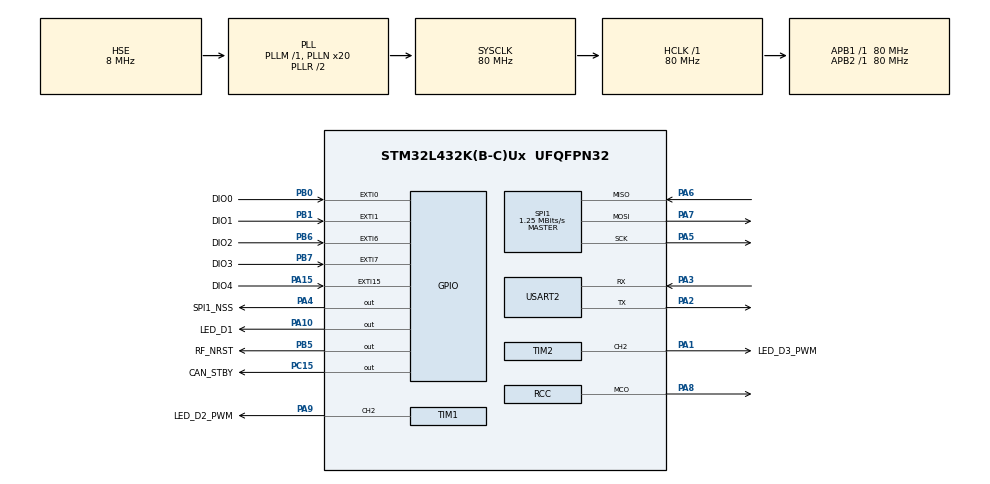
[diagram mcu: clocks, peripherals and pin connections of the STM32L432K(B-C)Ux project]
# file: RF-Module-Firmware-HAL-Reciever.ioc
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FREERTOS.Tasks01=defaultTask,24,512,StartDefaultTask,Default,NULL,Dynamic,NULL,NULL
FREERTOS.configENABLE_FPU=1
FREERTOS.configUSE_NEWLIB_REENTRANT=1
Mcu.Family=STM32L4
Mcu.Name=STM32L432K(B-C)Ux
Mcu.Package=UFQFPN32
NVIC.PriorityGroup=NVIC_PRIORITYGROUP_4
NVIC.TIM1_UP_TIM16_IRQn=true\:15\:0\:false\:false\:true\:false\:false\:true\:true
NVIC.TimeBase=TIM1_UP_TIM16_IRQn
NVIC.TimeBaseIP=TIM16
PA0.Mode=HSE-External-Clock-Source-for-LittleOrca
PA0.Signal=RCC_CK_IN
PA1.GPIO_Label=LED_D3_PWM
PA1.Signal=S_TIM2_CH2
PA10.GPIO_Label=LED_D1
PA10.Signal=GPIO_Output
PA13\ (JTMS-SWDIO).Mode=Serial_Wire
PA13\ (JTMS-SWDIO).Signal=SYS_JTMS-SWDIO
PA14\ (JTCK-SWCLK).Mode=Serial_Wire
PA14\ (JTCK-SWCLK).Signal=SYS_JTCK-SWCLK
PA15\ (JTDI).GPIO_Label=DIO4
PA15\ (JTDI).Signal=GPXTI15
PA2.Mode=Asynchronous
PA2.Signal=USART2_TX
PA3.Mode=Asynchronous
PA3.Signal=USART2_RX
PA4.GPIO_Label=SPI1_NSS
PA4.Signal=GPIO_Output
PA5.Mode=Full_Duplex_Master
PA5.Signal=SPI1_SCK
PA6.Mode=Full_Duplex_Master
PA6.Signal=SPI1_MISO
PA7.Mode=Full_Duplex_Master
PA7.Signal=SPI1_MOSI
PA8.Mode=Clock-out
PA8.Signal=RCC_MCO
PA9.GPIO_Label=LED_D2_PWM
PA9.Signal=S_TIM1_CH2
PB0.GPIO_Label=DIO0
PB0.Signal=GPXTI0
PB1.GPIO_Label=DIO1
PB1.Signal=GPXTI1
PB5.GPIO_Label=RF_NRST
PB5.Signal=GPIO_Output
PB6.GPIO_Label=DIO2
PB6.Signal=GPXTI6
PB7.GPIO_Label=DIO3
PB7.Signal=GPXTI7
PC15-OSC32_OUT\ (PC15).GPIO_Label=CAN_STBY
PC15-OSC32_OUT\ (PC15).Signal=GPIO_Output
ProjectManager.HeapSize=0x200
ProjectManager.StackSize=0x400
ProjectManager.TargetToolchain=STM32CubeIDE
RCC.ADCFreq_Value=32000000
RCC.AHBFreq_Value=80000000
RCC.APB1Freq_Value=80000000
RCC.APB1TimFreq_Value=80000000
RCC.APB2Freq_Value=80000000
RCC.APB2TimFreq_Value=80000000
RCC.CortexFreq_Value=80000000
RCC.EnbaleCSS=true
RCC.HCLKFreq_Value=80000000
RCC.HSE_VALUE=8000000
RCC.HSI48_VALUE=48000000
RCC.HSI_VALUE=16000000
RCC.LSE_VALUE=32768
RCC.LockedElements=AHBOutput
RCC.MSI_VALUE=4000000
RCC.PLLN=20
RCC.PLLSourceVirtual=RCC_PLLSOURCE_HSE
RCC.RCC_MCODiv=RCC_MCODIV_16
RCC.SYSCLKFreq_VALUE=80000000
RCC.SYSCLKSource=RCC_SYSCLKSOURCE_PLLCLK
RCC.USBFreq_Value=32000000
RCC.VCOOutputFreq_Value=160000000
SH.S_TIM1_CH2.0=TIM1_CH2,PWM Generation2 CH2
SH.S_TIM2_CH2.0=TIM2_CH2,PWM Generation2 CH2
SPI1.BaudRatePrescaler=SPI_BAUDRATEPRESCALER_64
SPI1.CalculateBaudRate=1.25 MBits/s
SPI1.DataSize=SPI_DATASIZE_8BIT
SPI1.Direction=SPI_DIRECTION_2LINES
SPI1.Mode=SPI_MODE_MASTER
SPI1.VirtualType=VM_MASTER
TIM1.AutoReloadPreload=TIM_AUTORELOAD_PRELOAD_ENABLE
TIM1.Channel-PWM\ Generation2\ CH2=TIM_CHANNEL_2
TIM1.Period=100-1
TIM1.Prescaler=8000-1
TIM2.AutoReloadPreload=TIM_AUTORELOAD_PRELOAD_ENABLE
TIM2.Channel-PWM\ Generation2\ CH2=TIM_CHANNEL_2
TIM2.Period=100-1
TIM2.Prescaler=8000-1
USART2.VirtualMode-Asynchronous=VM_ASYNC
VP_FREERTOS_VS_CMSIS_V2.Mode=CMSIS_V2
VP_SYS_VS_tim16.Mode=TIM16
VP_TIM1_VS_ClockSourceINT.Mode=Internal
VP_TIM2_VS_ClockSourceINT.Mode=Internal
board=custom

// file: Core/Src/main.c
/* USER CODE BEGIN Header */
/**
 ******************************************************************************
 * @file           : main.c
 * @brief          : Main program body
 ******************************************************************************
 * @attention
 *
 * Copyright (c) 2025 STMicroelectronics.
 * All rights reserved.
 *
 * This software is licensed under terms that can be found in the LICENSE file
 * in the root directory of this software component.
 * If no LICENSE file comes with this software, it is provided AS-IS.
 *
 ******************************************************************************
 */
/* USER CODE END Header */
#include "main.h"
#include "cmsis_os.h"
#include "spi.h"
#include "tim.h"
#include "usart.h"
#include "gpio.h"

/* USER CODE BEGIN Includes */
#include <stdbool.h>
#include "rf-rfm95.h"
#include "debug-log.h"
/* USER CODE END Includes */

void SystemClock_Config(void);
void MX_FREERTOS_Init(void);

/* USER CODE BEGIN 0 */
int _write(int file, char *ptr, int len) {
	HAL_UART_Transmit(&huart2, (uint8_t*) ptr, len, HAL_MAX_DELAY);
	return len;
}
/* USER CODE END 0 */

int main(void) {

	/* MCU Configuration--------------------------------------------------------*/

	/* Reset of all peripherals, Initializes the Flash interface and the Systick. */
	HAL_Init();

	/* Configure the system clock */
	SystemClock_Config();

	/* Initialize all configured peripherals */
	MX_GPIO_Init();
	MX_USART2_UART_Init();
	MX_TIM1_Init();
	MX_TIM2_Init();
	MX_SPI1_Init();

	/* Init scheduler */
	osKernelInitialize();

	/* Call init function for freertos objects (in cmsis_os2.c) */
	MX_FREERTOS_Init();

	/* Start scheduler */
	osKernelStart();

	/* We should never get here as control is now taken by the scheduler */

	/* Infinite loop */
	while (1) {

	}
}

void SystemClock_Config(void) {
	RCC_OscInitTypeDef RCC_OscInitStruct = { 0 };
	RCC_ClkInitTypeDef RCC_ClkInitStruct = { 0 };

	/** Configure the main internal regulator output voltage
	 */
	if (HAL_PWREx_ControlVoltageScaling(PWR_REGULATOR_VOLTAGE_SCALE1)
			!= HAL_OK) {
		Error_Handler();
	}

	/** Initializes the RCC Oscillators according to the specified parameters
	 * in the RCC_OscInitTypeDef structure.
	 */
	RCC_OscInitStruct.OscillatorType = RCC_OSCILLATORTYPE_HSE;
	RCC_OscInitStruct.HSEState = RCC_HSE_BYPASS;
	RCC_OscInitStruct.PLL.PLLState = RCC_PLL_ON;
	RCC_OscInitStruct.PLL.PLLSource = RCC_PLLSOURCE_HSE;
	RCC_OscInitStruct.PLL.PLLM = 1;
	RCC_OscInitStruct.PLL.PLLN = 20;
	RCC_OscInitStruct.PLL.PLLP = RCC_PLLP_DIV7;
	RCC_OscInitStruct.PLL.PLLQ = RCC_PLLQ_DIV2;
	RCC_OscInitStruct.PLL.PLLR = RCC_PLLR_DIV2;
	if (HAL_RCC_OscConfig(&RCC_OscInitStruct) != HAL_OK) {
		Error_Handler();
	}

	/** Initializes the CPU, AHB and APB buses clocks
	 */
	RCC_ClkInitStruct.ClockType = RCC_CLOCKTYPE_HCLK | RCC_CLOCKTYPE_SYSCLK
			| RCC_CLOCKTYPE_PCLK1 | RCC_CLOCKTYPE_PCLK2;
	RCC_ClkInitStruct.SYSCLKSource = RCC_SYSCLKSOURCE_PLLCLK;
	RCC_ClkInitStruct.AHBCLKDivider = RCC_SYSCLK_DIV1;
	RCC_ClkInitStruct.APB1CLKDivider = RCC_HCLK_DIV1;
	RCC_ClkInitStruct.APB2CLKDivider = RCC_HCLK_DIV1;

	if (HAL_RCC_ClockConfig(&RCC_ClkInitStruct, FLASH_LATENCY_4) != HAL_OK) {
		Error_Handler();
	}
	HAL_RCC_MCOConfig(RCC_MCO1, RCC_MCO1SOURCE_SYSCLK, RCC_MCODIV_16);

	/** Enables the Clock Security System
	 */
	HAL_RCC_EnableCSS();
}

void HAL_TIM_PeriodElapsedCallback(TIM_HandleTypeDef *htim) {
	if (htim->Instance == TIM16) {
		HAL_IncTick();
	}
}

void Error_Handler(void) {
	__disable_irq();
	while (1) {
	}
}

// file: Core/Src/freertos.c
/* USER CODE BEGIN Header */
/**
 ******************************************************************************
 * File Name          : freertos.c
 * Description        : Code for freertos applications
 ******************************************************************************
 * @attention
 *
 * Copyright (c) 2025 STMicroelectronics.
 * All rights reserved.
 *
 * This software is licensed under terms that can be found in the LICENSE file
 * in the root directory of this software component.
 * If no LICENSE file comes with this software, it is provided AS-IS.
 *
 ******************************************************************************
 */
/* USER CODE END Header */

#include "FreeRTOS.h"
#include "task.h"
#include "main.h"
#include "cmsis_os.h"

/* USER CODE BEGIN Includes */
#include <stdbool.h>
#include "rf-rfm95.h"
#include "debug-log.h"
#include "spi.h"
#include "lucy-can-ids.h"
#include <math.h>
/* USER CODE END Includes */

/* USER CODE BEGIN Variables */
typedef struct {
	union {
		struct {
			can_lucy_h2_conc packet_h2;
			can_lucy_h2_humidity packet_humd;
			can_lucy_h2_temp packet_temp;
		};
		uint8_t packet_raw[8 * 3];
	};
} rf_packet_test_h2;

rf_packet_test_h2 test_packet_h2 = { 0 };
/* USER CODE END Variables */
/* Definitions for defaultTask */
osThreadId_t defaultTaskHandle;
const osThreadAttr_t defaultTask_attributes = { .name = "defaultTask",
		.stack_size = 512 * 4, .priority = (osPriority_t) osPriorityNormal, };

void StartDefaultTask(void *argument);

void MX_FREERTOS_Init(void); /* (MISRA C 2004 rule 8.1) */

void MX_FREERTOS_Init(void) {

	/* Create the thread(s) */
	/* creation of defaultTask */
	defaultTaskHandle = osThreadNew(StartDefaultTask, NULL,
			&defaultTask_attributes);

}

void StartDefaultTask(void *argument) {
	/* USER CODE BEGIN StartDefaultTask */

	rf_handle_t rfm95 = { .rf_nreset_port = RF_NRST_GPIO_Port, .rf_nreset_pin =
	RF_NRST_Pin, .rf_nss_port = SPI1_NSS_GPIO_Port, .rf_nss_pin =
	SPI1_NSS_Pin, .rf_spi_handle = &hspi1, .rf_delay_func = osDelay,
			.rf_spi_timeout = HAL_MAX_DELAY, .rf_carrier_frequency = 868000000 };

	rf_initialize_radio(&rfm95);
	rf_set_tx_power(&rfm95, 5);
	rf_set_bandwidth(&rfm95, RF_BW_500K);
	rf_set_frequency(&rfm95, 868000000);
	uint8_t testdata = 347u;
	const char test[] = "Hello.7890";

	uint8_t rec_legth = 0;
	char rec_data[8 * 3 + 10] = { 0 };
	/* Infinite loop */
	for (;;) {
		HAL_GPIO_WritePin(LED_D1_GPIO_Port, LED_D1_Pin, GPIO_PIN_SET);
		//		osDelay(100);

		testdata = 0;

		rec_legth = 0;

		rf_recieve_single(&rfm95, &rec_legth);
		if (rec_legth > 0) {
			//			rf_read_packet(&rfm95, rec_legth, &test_packet.packet_raw);
			rf_read_packet(&rfm95, rec_legth, &test_packet_h2.packet_raw);

			//			log_info("%u %u %u %u",
			//					(uint32_t )(test_packet.packet_fc.fc_voltage * 1000),
			//					(uint32_t )(test_packet.packet_fc.fc_current * 1000),
			//					(uint32_t )(test_packet.packet_mtr.mtr_voltage * 1000),
			//					(uint32_t )(test_packet.packet_mtr.mtr_current * 1000));

			log_info("%d %d %d",
					(int )(test_packet_h2.packet_h2.h2_sense_voltage * 1000),
					(int )(test_packet_h2.packet_humd.h2_humidity * 1000),
					(int )(test_packet_h2.packet_temp.h2_temp) * 1000);

		}
		HAL_GPIO_WritePin(LED_D1_GPIO_Port, LED_D1_Pin, GPIO_PIN_RESET);
		osDelay(100);
	}
	/* USER CODE END StartDefaultTask */
}
